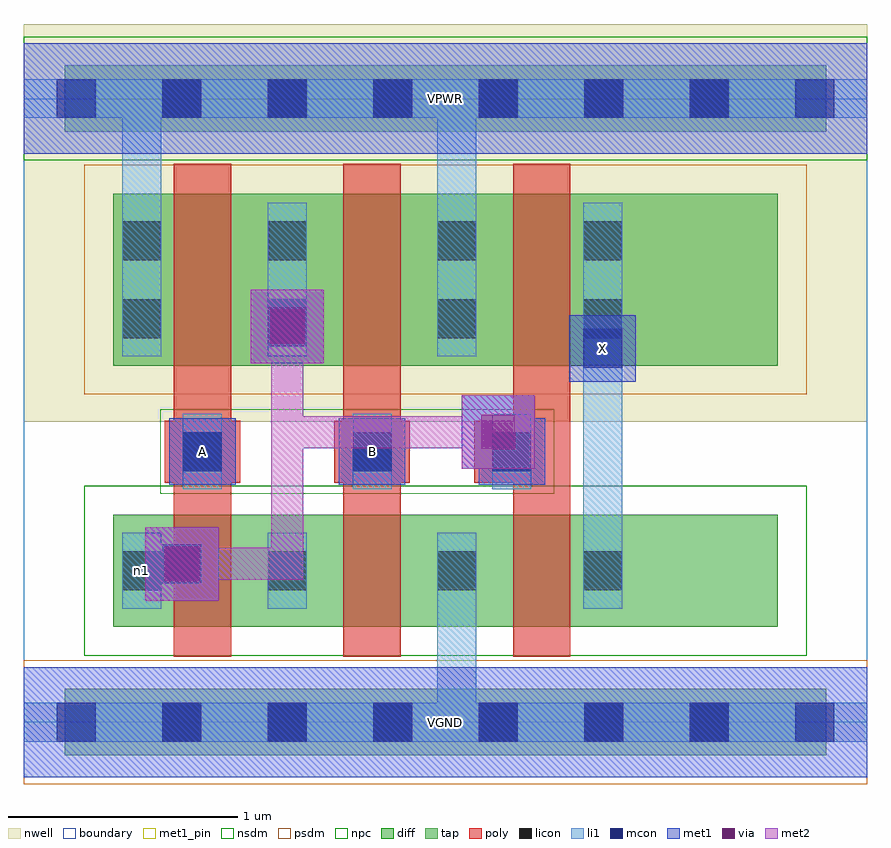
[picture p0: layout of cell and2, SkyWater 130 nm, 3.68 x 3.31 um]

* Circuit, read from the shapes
.subckt and2 A B VGND VPWR X n1
XM1 n2 A n1 VGND sky130_fd_pr__nfet_01v8 w=0.49 l=0.25
XM2 VGND B n2 VGND sky130_fd_pr__nfet_01v8 w=0.49 l=0.25
XM3 X n1 VGND VGND sky130_fd_pr__nfet_01v8 w=0.49 l=0.25
XM4 n1 A VPWR VPWR sky130_fd_pr__pfet_01v8 w=0.75 l=0.25
XM5 VPWR B n1 VPWR sky130_fd_pr__pfet_01v8 w=0.75 l=0.25
XM6 X n1 VPWR VPWR sky130_fd_pr__pfet_01v8 w=0.75 l=0.25
.ends

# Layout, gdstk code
import gdstk
lib = gdstk.Library(unit=1e-6, precision=1e-09)
def R(c, l, rs):  # rectangles x0, y0, x1, y1
    for r in rs: c.add(gdstk.rectangle(r[:2], r[2:], *l))
def A(c, l, x, y, w, h, nx, ny, dx, dy):  # array of equal rectangles
    R(c, l, [(x+i*dx, y+j*dy, x+i*dx+w, y+j*dy+h) for i in range(nx) for j in range(ny)])
nwell = (64, 20)
diff = (65, 20)
tap = (65, 44)
poly = (66, 20)
licon = (66, 44)
li1 = (67, 20)
mcon = (67, 44)
met1_pin = (68, 16)
met1 = (68, 20)
via = (68, 44)
met2 = (69, 20)
nsdm = (93, 44)
psdm = (94, 20)
npc = (95, 20)
boundary = (235, 4)

and2 = lib.new_cell('and2')
R(and2, nwell, [(0,1.31,3.68,3.045)])
R(and2, diff, [(0.39,0.415,3.29,0.905), (0.39,1.555,3.29,2.305)])
R(and2, tap, [(0.18,-0.145,3.5,0.145), (0.18,2.575,3.5,2.865)])
A(and2, poly, 0.655, 0.285, 0.25, 2.15, 3, 1, 0.74, 0)
R(and2, poly, [(0.615,1.045,0.945,1.315), (1.355,1.045,1.685,1.315), (1.965,1.045,2.295,1.315)])
A(and2, licon, 0.605, -0.085, 0.17, 0.17, 6, 2, 0.46, 2.72)
R(and2, licon, [(0.43,0.575,0.6,0.745), (1.065,0.575,1.235,0.745), (1.805,0.575,1.975,0.745), (2.44,0.575,2.61,0.745), (0.695,1.095,0.865,1.265), (1.435,1.095,1.605,1.265), (2.045,1.095,2.215,1.265), (0.43,1.675,0.6,1.845), (1.065,1.675,1.235,1.845), (1.805,1.675,1.975,1.845), (2.44,1.675,2.61,1.845), (0.43,2.015,0.6,2.185), (1.065,2.015,1.235,2.185), (1.805,2.015,1.975,2.185), (2.44,2.015,2.61,2.185)])
R(and2, li1, [(0,-0.085,3.68,0.085), (1.805,-0.085,1.975,0.825), (0.43,0.495,0.6,0.825), (1.065,0.495,1.235,0.825), (1.805,0.495,1.975,0.825), (2.44,0.495,2.61,0.825), (2.44,0.495,2.61,2.265), (0.43,0.605,0.775,0.775), (0.695,1.015,0.865,1.345), (1.435,1.015,1.605,1.345), (2.045,1.015,2.215,1.345), (0.43,1.595,0.6,2.265), (0.43,1.595,0.6,2.805), (1.065,1.595,1.235,2.265), (1.805,1.595,1.975,2.265), (1.805,1.595,1.975,2.805), (2.44,1.595,2.61,2.265), (0,2.635,3.68,2.805)])
A(and2, mcon, 0.145, -0.085, 0.17, 0.17, 8, 2, 0.46, 2.72)
R(and2, mcon, [(0.605,0.605,0.775,0.775), (0.695,1.095,0.865,1.265), (1.435,1.095,1.605,1.265), (2.045,1.095,2.215,1.265), (2.44,1.545,2.61,1.715), (1.065,1.64,1.235,1.81)])
R(and2, met1_pin, [(0,-0.24,3.68,0.24), (0.635,1.035,0.925,1.325), (1.375,1.035,1.665,1.325), (2.38,1.485,2.67,1.775), (0,2.48,3.68,2.96)])
R(and2, met1, [(0,-0.24,3.68,0.24), (0.53,0.53,0.85,0.85), (0.545,0.545,0.835,0.835), (0.635,1.035,0.925,1.325), (1.375,1.035,1.665,1.325), (1.985,1.035,2.275,1.325), (1.91,1.105,2.23,1.425), (2.38,1.485,2.67,1.775), (0.99,1.565,1.31,1.885), (1.005,1.58,1.295,1.87), (0,2.48,3.68,2.96)])
R(and2, via, [(0.615,0.615,0.765,0.765), (1.995,1.19,2.145,1.34), (1.075,1.65,1.225,1.8)])
R(and2, met2, [(0.53,0.53,0.85,0.85), (0.62,0.62,1.22,0.76), (1.08,0.62,1.22,1.795), (1.91,1.105,2.23,1.425), (1.08,1.195,2.14,1.335), (0.99,1.565,1.31,1.885)])
R(and2, nsdm, [(0.265,0.29,3.415,1.03), (0,2.45,3.68,2.99)])
R(and2, psdm, [(0,-0.27,3.68,0.27), (0.265,1.43,3.415,2.43)])
R(and2, npc, [(0.595,0.995,2.315,1.365)])
R(and2, boundary, [(0,0,3.68,2.72)])
and2.add(gdstk.Label('n1', (0.515,0.66), layer=67, texttype=5))
and2.add(gdstk.Label('X', (2.525,1.63), layer=68, texttype=5))
and2.add(gdstk.Label('A', (0.78,1.18), layer=68, texttype=5))
and2.add(gdstk.Label('B', (1.52,1.18), layer=68, texttype=5))
and2.add(gdstk.Label('VPWR', (1.84,2.72), layer=68, texttype=5))
and2.add(gdstk.Label('VGND', (1.84,0), layer=68, texttype=5))
and2.add(gdstk.Label('X', (2.525,1.63), layer=68, texttype=16))
and2.add(gdstk.Label('A', (0.78,1.18), layer=68, texttype=16))
and2.add(gdstk.Label('B', (1.52,1.18), layer=68, texttype=16))
and2.add(gdstk.Label('VPWR', (1.84,2.72), layer=68, texttype=16))
and2.add(gdstk.Label('VGND', (1.84,0), layer=68, texttype=16))

lib.write_gds('and2.gds')
